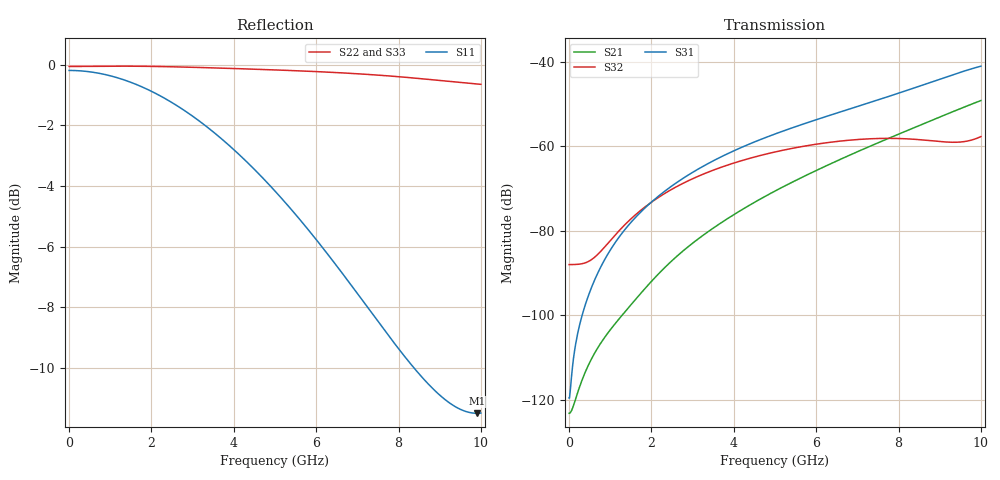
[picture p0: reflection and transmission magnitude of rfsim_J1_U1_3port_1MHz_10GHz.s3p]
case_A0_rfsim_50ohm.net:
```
# A: rfsim 3-port + 50 ohm on ports 2,3
Pac:P1 n1 gnd Num="1" Z="50 Ohm" P="0 dBm" f="1e9"
SPfile:EM n1 n2 n3 gnd File="rfsim_J1_U1_3port_1MHz_10GHz.s3p" Data="rectangular" Interpolator="linear" duringDC="open"
R:RP2 n2 gnd R="50 Ohm"
R:RP3 n3 gnd R="50 Ohm"
.SP:SP1 Type="log" Start="1e6" Stop="1e10" Points="401"
```
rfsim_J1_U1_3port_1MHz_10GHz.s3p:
! rfsim result results.s3p: P1 = J1 pad, P2 = U1:1 (INHI), P3 = U1:8 (INLO)
! points below the first rfsim frequency are copies of it (flat extension)
# HZ S RI R 50
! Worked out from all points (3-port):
!   402 points, 1 MHz to 10 GHz, reference 50 ohm
!   strongest paths, dB at 1 MHz, 2.483 GHz, 5.005 GHz, 7.503 GHz, 10 GHz:
!     S31: -119.6, -69.5, -57.1, -49.0, -41.0
!     S32: -88.0, -70.2, -61.3, -58.1, -57.7
!     S21: -123.2, -87.2, -70.6, -59.2, -49.2
!   lowest |S11| = -11.5 dB at 9.9 GHz (marker M1), VSWR 1.72, Z = 68 - j26.7 ohm
!   |S11| at or under -10 dB: 8.373 GHz to end of sweep
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1000000  0.9784 -0.00216  -2.8e-05 3.41e-07  -9.29e-07 -1.46e-07
         6.88e-07 -5.98e-08  0.9932 -0.000592  9.22e-07 -2.76e-07
         1.01e-06 -2.88e-07  -3.98e-05 -3.19e-07  -0.9932 0.00343
1.333675e9  0.9044 -0.2704  1.55e-06 7.99e-06  -9.53e-05 2.31e-05
            -1.04e-05 -2.26e-06  0.991 -0.0813  -6.49e-05 1.06e-05
            -0.0001 -6.2e-07  -8.17e-05 -8.12e-05  -0.8891 0.4524
4.430575e9  0.4455 -0.5127  -0.000197 8.69e-05  -0.000276 0.00106
            -0.00016 0.000132  0.945 -0.2719  -0.000399 0.000483
            -0.000381 0.00102  -0.000679 0.000271  -0.1144 0.9925
9.9001e9  0.1938 -0.1822  0.00319 0.00212  0.0088 8.55e-06
          0.00291 0.00164  0.7213 -0.5859  -0.000468 0.000745
          0.00862 0.000196  -0.000948 0.000804  0.8929 0.3347
1e10  0.1975 -0.1785  0.00344 0.00207  0.00905 -0.000467
      0.0031 0.00159  0.7155 -0.5912  -0.000561 0.000749
      0.00888 -0.000278  -0.00104 0.000788  0.8985 0.3156
